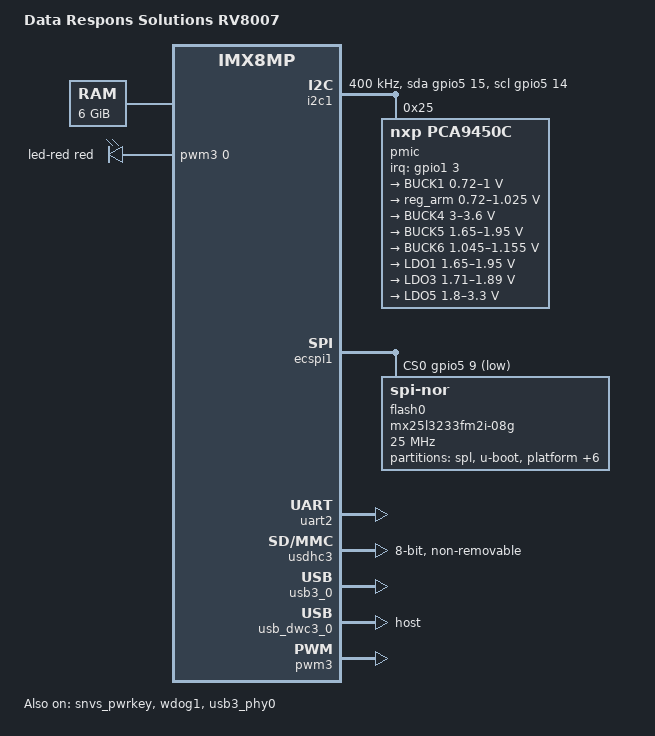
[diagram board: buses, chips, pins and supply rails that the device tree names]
// SPDX-License-Identifier: GPL-2.0+
 /*
  * Copyright 2024 Data Respons Solutions AB
  */

/dts-v1/;

#include <dt-bindings/leds/common.h>
#include "imx8mp.dtsi"

/ {
	model = "Data Respons Solutions RV8007";
	compatible = "drs,rv8007", "fsl,imx8mp";

	aliases {
		spi0 = &ecspi1;
	};

	chosen {
		stdout-path = &uart2;
	};

	memory@40000000 {
		device_type = "memory";
		reg = <0x0 0x40000000 0 0xc0000000>,
		      <0x1 0x00000000 0 0xc0000000>;
	};

	front-led {
		compatible = "pwm-leds";

		led-red {
			pwms = <&pwm3 0 1000000 0>;
			color = <LED_COLOR_ID_RED>;
			max-brightness = <65535>;
			u-boot,default-brightness = <65535>;
		};
	};
};

&A53_0 {
	cpu-supply = <&reg_arm>;
};

&A53_1 {
	cpu-supply = <&reg_arm>;
};

&A53_2 {
	cpu-supply = <&reg_arm>;
};

&A53_3 {
	cpu-supply = <&reg_arm>;
};

&i2c1 {
	clock-frequency = <400000>;
	pinctrl-names = "default", "gpio";
	pinctrl-0 = <&pinctrl_i2c1>;
	pinctrl-1 = <&pinctrl_i2c1_gpio>;
	scl-gpios = <&gpio5 14 GPIO_ACTIVE_HIGH>;
	sda-gpios = <&gpio5 15 GPIO_ACTIVE_HIGH>;
	status = "okay";

	pmic@25 {
		compatible = "nxp,pca9450c";
		reg = <0x25>;
		pinctrl-names = "default";
		pinctrl-0 = <&pinctrl_pmic>;
		interrupt-parent = <&gpio1>;
		interrupts = <3 IRQ_TYPE_LEVEL_LOW>;

		regulators {
			BUCK1 {
				regulator-name = "BUCK1";
				regulator-min-microvolt = <720000>;
				regulator-max-microvolt = <1000000>;
				regulator-boot-on;
				regulator-always-on;
				regulator-ramp-delay = <3125>;
			};

			reg_arm: BUCK2 {
				regulator-name = "BUCK2";
				regulator-min-microvolt = <720000>;
				regulator-max-microvolt = <1025000>;
				regulator-boot-on;
				regulator-always-on;
				regulator-ramp-delay = <3125>;
				nxp,dvs-run-voltage = <950000>;
				nxp,dvs-standby-voltage = <850000>;
			};

			BUCK4 {
				regulator-name = "BUCK4";
				regulator-min-microvolt = <3000000>;
				regulator-max-microvolt = <3600000>;
				regulator-boot-on;
				regulator-always-on;
			};

			BUCK5 {
				regulator-name = "BUCK5";
				regulator-min-microvolt = <1650000>;
				regulator-max-microvolt = <1950000>;
				regulator-boot-on;
				regulator-always-on;
			};

			BUCK6 {
				regulator-name = "BUCK6";
				regulator-min-microvolt = <1045000>;
				regulator-max-microvolt = <1155000>;
				regulator-boot-on;
				regulator-always-on;
			};

			LDO1 {
				regulator-name = "LDO1";
				regulator-min-microvolt = <1650000>;
				regulator-max-microvolt = <1950000>;
				regulator-boot-on;
				regulator-always-on;
			};

			LDO3 {
				regulator-name = "LDO3";
				regulator-min-microvolt = <1710000>;
				regulator-max-microvolt = <1890000>;
				regulator-boot-on;
				regulator-always-on;
			};

			LDO5 {
				regulator-name = "LDO5";
				regulator-min-microvolt = <1800000>;
				regulator-max-microvolt = <3300000>;
				regulator-boot-on;
				regulator-always-on;
			};
		};
	};
};

&ecspi1 {
	compatible = "fsl,imx8mp-ecspi", "fsl,imx51-ecspi";
	cs-gpios = <&gpio5 9 GPIO_ACTIVE_LOW>;
	pinctrl-names = "default";
	pinctrl-0 = <&pinctrl_ecspi1>;
	status = "okay";

	flash0: mx25l3233fm2i-08g@0 {
		reg = <0>;
		#address-cells = <1>;
		#size-cells = <1>;
		compatible = "jedec,spi-nor";
		spi-max-frequency = <25000000>;

		partitions {
			compatible = "fixed-partitions";
			#address-cells = <1>;
			#size-cells = <1>;

			spl@0 {
				label = "spl";
				reg = <0x000000 0x040000>;
			};

			u-boot@40000 {
				label = "u-boot";
				reg = <0x040000 0x190000>;
			};

			platform@1D0000 {
				label = "platform";
				reg = <0x1D0000 0x010000>;
				read-only;
			};

			system_a@1E0000 {
				label = "system_a";
				reg = <0x1E0000 0x010000>;
			};

			system_b@1F0000 {
				label = "system_b";
				reg = <0x1F0000 0x010000>;
			};

			spl-second@200000 {
				label = "spl-second";
				reg = <0x200000 0x040000>;
			};

			u-boot-second@240000 {
				label = "u-boot-second";
				reg = <0x240000 0x190000>;
			};

			user_a@3D0000 {
				label = "user_a";
				reg = <0x3D0000 0x010000>;
			};

			user_b@3E0000 {
				label = "user_b";
				reg = <0x3E0000 0x010000>;
			};
		};
	};
};

&snvs_pwrkey {
	status = "okay";
};

&uart2 { /* console */
	pinctrl-names = "default";
	pinctrl-0 = <&pinctrl_uart2>;
	status = "okay";
};

&usdhc3 {
	assigned-clocks = <&clk IMX8MP_CLK_USDHC3>;
	assigned-clock-rates = <400000000>;
	pinctrl-names = "default", "state_100mhz", "state_200mhz";
	pinctrl-0 = <&pinctrl_usdhc3>;
	pinctrl-1 = <&pinctrl_usdhc3_100mhz>;
	pinctrl-2 = <&pinctrl_usdhc3_200mhz>;
	bus-width = <8>;
	non-removable;
	status = "okay";
};

&wdog1 {
	pinctrl-names = "default";
	pinctrl-0 = <&pinctrl_wdog>;
	fsl,ext-reset-output;
	status = "okay";
};

&usb3_phy0 {
	status = "okay";
};

&usb3_0 {
	status = "okay";
};

&usb_dwc3_0 {
	pinctrl-names = "default";
	pinctrl-0 = <&pinctrl_usb0>;
	dr_mode = "host";
	status = "okay";
	maximum-speed = "high-speed";
};

&pwm3 {
	pinctrl-names = "default";
	pinctrl-0 = <&pinctrl_pwm3>;
	status = "okay";
};

&iomuxc {
	pinctrl_usb0: usb0grp {
		fsl,pins = <
			MX8MP_IOMUXC_GPIO1_IO12__USB1_OTG_PWR		0x000 /* VBUS_EN-CN_A */
		>;
	};

	pinctrl_ecspi1: ecspi1grp {
		fsl,pins = <
			MX8MP_IOMUXC_ECSPI1_SCLK__ECSPI1_SCLK	0x096 /* ECSPI1_SCLK-Flash */
			MX8MP_IOMUXC_ECSPI1_MISO__ECSPI1_MISO	0x096 /* ECSPI1_MISO-Flash */
			MX8MP_IOMUXC_ECSPI1_MOSI__ECSPI1_MOSI	0x096 /* ECSPI1_MOSI-Flash */
			MX8MP_IOMUXC_ECSPI1_SS0__GPIO5_IO09		0x000 /* ECSPI1_SS0-Flash */
		>;
	};

	pinctrl_i2c1: i2c1grp {
		fsl,pins = <
			MX8MP_IOMUXC_I2C1_SCL__I2C1_SCL			0x400001c3 /* I2C1_SCL */
			MX8MP_IOMUXC_I2C1_SDA__I2C1_SDA			0x400001c3 /* I2C1_SDA */
		>;
	};

	pinctrl_pmic: pmicirqgrp {
		fsl,pins = <
			MX8MP_IOMUXC_GPIO1_IO03__GPIO1_IO03		0x1c0 /* PMIC_nINT */
		>;
	};

	pinctrl_i2c1_gpio: i2c1gpiogrp {
		fsl,pins = <
			MX8MP_IOMUXC_I2C1_SCL__GPIO5_IO14		0x1c3 /* I2C1_SCL */
			MX8MP_IOMUXC_I2C1_SDA__GPIO5_IO15		0x1c3 /* I2C1_SDA */
		>;
	};

	pinctrl_uart2: uart2grp {
		fsl,pins = <
			MX8MP_IOMUXC_UART2_RXD__UART2_DCE_RX	0x080 /* UART_RX-DEBUG_CN */
			MX8MP_IOMUXC_UART2_TXD__UART2_DCE_TX	0x000 /* UART_TX-DEBUG_CN */
		>;
	};

	pinctrl_usdhc3: usdhc3grp {
		fsl,pins = <
			MX8MP_IOMUXC_NAND_WE_B__USDHC3_CLK		0x190 /* SD_CLK-eMMC */
			MX8MP_IOMUXC_NAND_WP_B__USDHC3_CMD		0x1d0 /* SD_CMD-eMMC */
			MX8MP_IOMUXC_NAND_DATA04__USDHC3_DATA0	0x1d0 /* SD_D0-eMMC */
			MX8MP_IOMUXC_NAND_DATA05__USDHC3_DATA1	0x1d0 /* SD_D1-eMMC */
			MX8MP_IOMUXC_NAND_DATA06__USDHC3_DATA2	0x1d0 /* SD_D2-eMMC */
			MX8MP_IOMUXC_NAND_DATA07__USDHC3_DATA3	0x1d0 /* SD_D3-eMMC */
			MX8MP_IOMUXC_NAND_RE_B__USDHC3_DATA4	0x1d0 /* SD_D4-eMMC */
			MX8MP_IOMUXC_NAND_CE2_B__USDHC3_DATA5	0x1d0 /* SD_D5-eMMC */
			MX8MP_IOMUXC_NAND_CE3_B__USDHC3_DATA6	0x1d0 /* SD_D6-eMMC */
			MX8MP_IOMUXC_NAND_CLE__USDHC3_DATA7		0x1d0 /* SD_D7-eMMC */
			MX8MP_IOMUXC_NAND_CE1_B__USDHC3_STROBE	0x190 /* SD_STROBE-eMMC */
		>;
	};

	pinctrl_usdhc3_100mhz: usdhc3-100mhzgrp {
		fsl,pins = <
			MX8MP_IOMUXC_NAND_WE_B__USDHC3_CLK		0x194 /* SD_CLK-eMMC */
			MX8MP_IOMUXC_NAND_WP_B__USDHC3_CMD		0x1d4 /* SD_CMD-eMMC */
			MX8MP_IOMUXC_NAND_DATA04__USDHC3_DATA0	0x1d4 /* SD_D0-eMMC */
			MX8MP_IOMUXC_NAND_DATA05__USDHC3_DATA1	0x1d4 /* SD_D1-eMMC */
			MX8MP_IOMUXC_NAND_DATA06__USDHC3_DATA2	0x1d4 /* SD_D2-eMMC */
			MX8MP_IOMUXC_NAND_DATA07__USDHC3_DATA3	0x1d4 /* SD_D3-eMMC */
			MX8MP_IOMUXC_NAND_RE_B__USDHC3_DATA4	0x1d4 /* SD_D4-eMMC */
			MX8MP_IOMUXC_NAND_CE2_B__USDHC3_DATA5	0x1d4 /* SD_D5-eMMC */
			MX8MP_IOMUXC_NAND_CE3_B__USDHC3_DATA6	0x1d4 /* SD_D6-eMMC */
			MX8MP_IOMUXC_NAND_CLE__USDHC3_DATA7		0x1d4 /* SD_D7-eMMC */
			MX8MP_IOMUXC_NAND_CE1_B__USDHC3_STROBE	0x194 /* SD_STROBE-eMMC */
		>;
	};

	pinctrl_usdhc3_200mhz: usdhc3-200mhzgrp {
		fsl,pins = <
			MX8MP_IOMUXC_NAND_WE_B__USDHC3_CLK		0x196 /* SD_CLK-eMMC */
			MX8MP_IOMUXC_NAND_WP_B__USDHC3_CMD		0x1d6 /* SD_CMD-eMMC */
			MX8MP_IOMUXC_NAND_DATA04__USDHC3_DATA0	0x1d6 /* SD_D0-eMMC */
			MX8MP_IOMUXC_NAND_DATA05__USDHC3_DATA1	0x1d6 /* SD_D1-eMMC */
			MX8MP_IOMUXC_NAND_DATA06__USDHC3_DATA2	0x1d6 /* SD_D2-eMMC */
			MX8MP_IOMUXC_NAND_DATA07__USDHC3_DATA3	0x1d6 /* SD_D3-eMMC */
			MX8MP_IOMUXC_NAND_RE_B__USDHC3_DATA4	0x1d6 /* SD_D4-eMMC */
			MX8MP_IOMUXC_NAND_CE2_B__USDHC3_DATA5	0x1d6 /* SD_D5-eMMC */
			MX8MP_IOMUXC_NAND_CE3_B__USDHC3_DATA6	0x1d6 /* SD_D6-eMMC */
			MX8MP_IOMUXC_NAND_CLE__USDHC3_DATA7		0x1d6 /* SD_D7-eMMC */
			MX8MP_IOMUXC_NAND_CE1_B__USDHC3_STROBE	0x196 /* SD_STROBE-eMMC */
		>;
	};

	pinctrl_wdog: wdoggrp {
		fsl,pins = <
			MX8MP_IOMUXC_GPIO1_IO02__WDOG1_WDOG_B	0x166 /* WDOG_B */
		>;
	};

	pinctrl_pwm3: pwm3grp {
		fsl,pins = <
			MX8MP_IOMUXC_GPIO1_IO10__PWM3_OUT		0x000 /* PWM_LEDR */
		>;
	};
};
